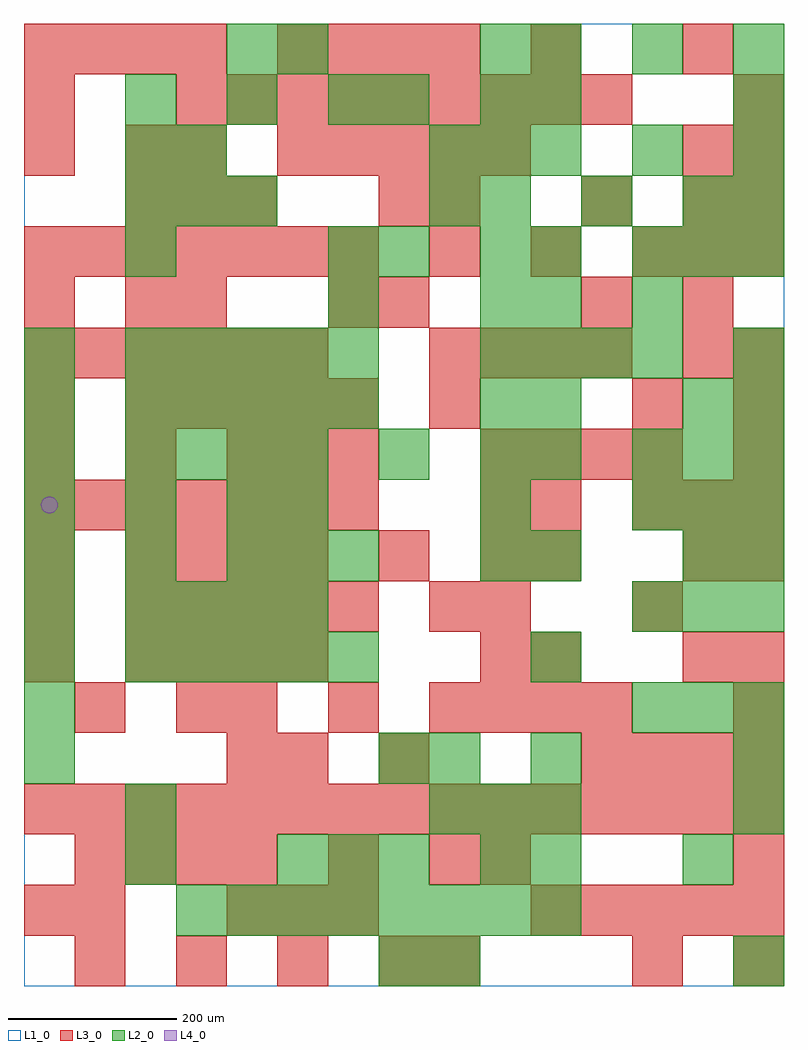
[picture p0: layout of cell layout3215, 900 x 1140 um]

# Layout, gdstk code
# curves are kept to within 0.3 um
import gdstk
lib = gdstk.Library(unit=1e-6, precision=1e-09)
def R(c, l, rs):  # rectangles x0, y0, x1, y1
    for r in rs: c.add(gdstk.rectangle(r[:2], r[2:], *l))
def A(c, l, x, y, w, h, nx, ny, dx, dy):  # array of equal rectangles
    R(c, l, [(x+i*dx, y+j*dy, x+i*dx+w, y+j*dy+h) for i in range(nx) for j in range(ny)])
def P(c, l, *ps):  # polygons
    for p in ps: c.add(gdstk.Polygon(p, *l))
L1_0 = (1, 0)
L2_0 = (2, 0)
L3_0 = (3, 0)
L4_0 = (4, 0)

layout3215 = lib.new_cell('layout3215')
R(layout3215, L1_0, [(0,0,900,1140)])
A(layout3215, L2_0, 180, 60, 60, 60, 8, 1, 60, 0)
A(layout3215, L2_0, 300, 120, 60, 60, 3, 1, 60, 0)
A(layout3215, L2_0, 600, 120, 60, 60, 1, 5, 0, 120)
A(layout3215, L2_0, 480, 180, 60, 60, 3, 2, 60, 780)
A(layout3215, L2_0, 0, 240, 60, 60, 1, 4, 0, 60)
A(layout3215, L2_0, 720, 300, 60, 60, 3, 3, 60, 120)
A(layout3215, L2_0, 120, 360, 60, 60, 5, 2, 60, 300)
A(layout3215, L2_0, 120, 420, 60, 60, 4, 2, 60, 180)
A(layout3215, L2_0, 0, 480, 60, 60, 3, 2, 120, 60)
A(layout3215, L2_0, 540, 480, 60, 60, 1, 4, 0, 60)
A(layout3215, L2_0, 0, 600, 60, 60, 1, 3, 0, 60)
A(layout3215, L2_0, 720, 600, 60, 60, 3, 2, 60, 240)
A(layout3215, L2_0, 120, 720, 60, 60, 5, 1, 60, 0)
A(layout3215, L2_0, 540, 720, 60, 60, 4, 1, 60, 0)
A(layout3215, L2_0, 120, 900, 60, 60, 3, 1, 60, 0)
A(layout3215, L2_0, 540, 900, 60, 60, 3, 1, 120, 0)
A(layout3215, L2_0, 840, 900, 60, 60, 1, 3, 0, 60)
A(layout3215, L2_0, 120, 1020, 60, 60, 3, 1, 120, 0)
A(layout3215, L2_0, 600, 1080, 60, 60, 3, 1, 120, 0)
R(layout3215, L2_0, [(420,0,480,60), (480,0,540,60), (840,0,900,60), (120,120,180,180), (540,120,600,180), (780,120,840,180), (120,180,180,240), (840,180,900,240), (420,240,480,300), (480,240,540,300), (840,240,900,300), (300,480,360,540), (360,480,420,540), (780,480,840,540), (840,480,900,540), (300,540,360,600), (420,600,480,660), (600,660,660,720), (780,660,840,720), (840,660,900,720), (840,720,900,780), (360,780,420,840), (540,780,600,840), (600,780,660,840), (720,780,780,840), (120,840,180,900), (360,840,420,900), (420,840,480,900), (540,840,600,900), (600,840,660,900), (480,900,540,960), (120,960,180,1020), (180,960,240,1020), (720,960,780,1020), (420,1020,480,1080), (540,1020,600,1080), (600,1020,660,1080), (240,1080,300,1140), (300,1080,360,1140), (540,1080,600,1140)])
A(layout3215, L3_0, 60, 0, 60, 60, 4, 1, 120, 0)
A(layout3215, L3_0, 240, 60, 60, 60, 3, 1, 60, 0)
A(layout3215, L3_0, 600, 60, 60, 60, 5, 1, 60, 0)
A(layout3215, L3_0, 60, 120, 60, 60, 4, 1, 60, 0)
A(layout3215, L3_0, 0, 180, 60, 60, 15, 1, 60, 0)
A(layout3215, L3_0, 660, 240, 60, 60, 4, 1, 60, 0)
A(layout3215, L3_0, 240, 300, 60, 60, 3, 1, 120, 0)
A(layout3215, L3_0, 540, 300, 60, 60, 3, 1, 60, 0)
A(layout3215, L3_0, 0, 360, 60, 60, 1, 3, 0, 60)
A(layout3215, L3_0, 120, 360, 60, 60, 4, 2, 60, 120)
A(layout3215, L3_0, 540, 360, 60, 60, 1, 4, 0, 60)
A(layout3215, L3_0, 840, 360, 60, 60, 1, 3, 0, 120)
A(layout3215, L3_0, 120, 420, 60, 60, 5, 2, 60, 240)
A(layout3215, L3_0, 480, 420, 60, 60, 1, 3, 0, 240)
A(layout3215, L3_0, 0, 540, 60, 60, 7, 2, 60, 300)
A(layout3215, L3_0, 720, 540, 60, 60, 3, 1, 60, 0)
A(layout3215, L3_0, 0, 600, 60, 60, 3, 1, 120, 0)
A(layout3215, L3_0, 540, 600, 60, 60, 4, 1, 60, 0)
A(layout3215, L3_0, 0, 720, 60, 60, 6, 1, 60, 0)
A(layout3215, L3_0, 480, 720, 60, 60, 4, 1, 60, 0)
A(layout3215, L3_0, 780, 720, 60, 60, 1, 5, 0, 60)
A(layout3215, L3_0, 480, 840, 60, 60, 3, 1, 120, 0)
A(layout3215, L3_0, 840, 840, 60, 60, 1, 4, 0, 60)
A(layout3215, L3_0, 120, 900, 60, 60, 3, 1, 60, 0)
A(layout3215, L3_0, 300, 960, 60, 60, 5, 1, 60, 0)
A(layout3215, L3_0, 180, 1020, 60, 60, 9, 1, 60, 0)
A(layout3215, L3_0, 0, 1080, 60, 60, 4, 1, 60, 0)
A(layout3215, L3_0, 300, 1080, 60, 60, 4, 1, 60, 0)
R(layout3215, L3_0, [(480,0,540,60), (720,0,780,60), (840,0,900,60), (0,60,60,120), (60,60,120,120), (360,120,420,180), (480,120,540,180), (540,120,600,180), (840,120,900,180), (240,240,300,300), (300,240,360,300), (420,240,480,300), (60,300,120,360), (180,300,240,360), (840,300,900,360), (600,360,660,420), (780,360,840,420), (720,420,780,480), (420,480,480,540), (600,480,660,540), (780,480,840,540), (600,540,660,600), (300,600,360,660), (360,600,420,660), (0,660,60,720), (720,660,780,720), (840,660,900,720), (840,720,900,780), (0,780,60,840), (120,780,180,840), (180,780,240,840), (360,780,420,840), (420,780,480,840), (660,780,720,840), (420,900,480,960), (660,900,720,960), (0,960,60,1020), (120,960,180,1020), (180,960,240,1020), (0,1020,60,1080), (600,1080,660,1140), (780,1080,840,1140)])
P(layout3215, L4_0, [(40,570),(39.239,573.827),(37.071,577.071),(33.827,579.239),(30,580),(26.173,579.239),(22.929,577.071),(20.761,573.827),(20,570),(20.761,566.173),(22.929,562.929),(26.173,560.761),(30,560),(33.827,560.761),(37.071,562.929),(39.239,566.173)])

lib.write_gds('layout3215.gds')
